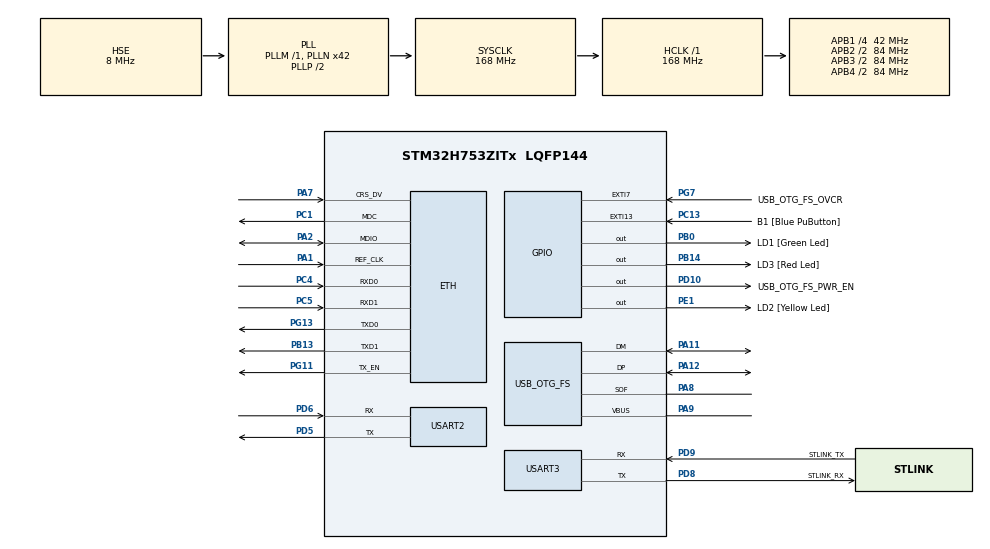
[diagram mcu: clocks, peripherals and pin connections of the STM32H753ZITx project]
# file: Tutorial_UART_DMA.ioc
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CORTEX_M7.CPU_DCache=Disabled
CORTEX_M7.CPU_ICache=Disabled
CORTEX_M7.MPU_Control=__NULL
Dma.Request0=USART2_TX
Dma.Request1=USART2_RX
Dma.Request2=USART3_RX
Dma.Request3=USART3_TX
Dma.USART2_RX.1.Direction=DMA_PERIPH_TO_MEMORY
Dma.USART2_RX.1.EventEnable=DISABLE
Dma.USART2_RX.1.FIFOMode=DMA_FIFOMODE_DISABLE
Dma.USART2_RX.1.Instance=DMA1_Stream1
Dma.USART2_RX.1.MemDataAlignment=DMA_MDATAALIGN_BYTE
Dma.USART2_RX.1.MemInc=DMA_MINC_ENABLE
Dma.USART2_RX.1.Mode=DMA_NORMAL
Dma.USART2_RX.1.PeriphDataAlignment=DMA_PDATAALIGN_BYTE
Dma.USART2_RX.1.PeriphInc=DMA_PINC_DISABLE
Dma.USART2_RX.1.Polarity=HAL_DMAMUX_REQ_GEN_RISING
Dma.USART2_RX.1.Priority=DMA_PRIORITY_LOW
Dma.USART2_RX.1.RequestNumber=1
Dma.USART2_RX.1.SignalID=NONE
Dma.USART2_RX.1.SyncEnable=DISABLE
Dma.USART2_RX.1.SyncPolarity=HAL_DMAMUX_SYNC_NO_EVENT
Dma.USART2_RX.1.SyncRequestNumber=1
Dma.USART2_RX.1.SyncSignalID=NONE
Dma.USART2_TX.0.Direction=DMA_MEMORY_TO_PERIPH
Dma.USART2_TX.0.EventEnable=DISABLE
Dma.USART2_TX.0.FIFOMode=DMA_FIFOMODE_DISABLE
Dma.USART2_TX.0.Instance=DMA1_Stream0
Dma.USART2_TX.0.MemDataAlignment=DMA_MDATAALIGN_BYTE
Dma.USART2_TX.0.MemInc=DMA_MINC_ENABLE
Dma.USART2_TX.0.Mode=DMA_NORMAL
Dma.USART2_TX.0.PeriphDataAlignment=DMA_PDATAALIGN_BYTE
Dma.USART2_TX.0.PeriphInc=DMA_PINC_DISABLE
Dma.USART2_TX.0.Polarity=HAL_DMAMUX_REQ_GEN_RISING
Dma.USART2_TX.0.Priority=DMA_PRIORITY_LOW
Dma.USART2_TX.0.RequestNumber=1
Dma.USART2_TX.0.SignalID=NONE
Dma.USART2_TX.0.SyncEnable=DISABLE
Dma.USART2_TX.0.SyncPolarity=HAL_DMAMUX_SYNC_NO_EVENT
Dma.USART2_TX.0.SyncRequestNumber=1
Dma.USART2_TX.0.SyncSignalID=NONE
Dma.USART3_RX.2.Direction=DMA_PERIPH_TO_MEMORY
Dma.USART3_RX.2.EventEnable=DISABLE
Dma.USART3_RX.2.FIFOMode=DMA_FIFOMODE_DISABLE
Dma.USART3_RX.2.Instance=DMA1_Stream2
Dma.USART3_RX.2.MemDataAlignment=DMA_MDATAALIGN_BYTE
Dma.USART3_RX.2.MemInc=DMA_MINC_ENABLE
Dma.USART3_RX.2.Mode=DMA_NORMAL
Dma.USART3_RX.2.PeriphDataAlignment=DMA_PDATAALIGN_BYTE
Dma.USART3_RX.2.PeriphInc=DMA_PINC_DISABLE
Dma.USART3_RX.2.Polarity=HAL_DMAMUX_REQ_GEN_RISING
Dma.USART3_RX.2.Priority=DMA_PRIORITY_LOW
Dma.USART3_RX.2.RequestNumber=1
Dma.USART3_RX.2.SignalID=NONE
Dma.USART3_RX.2.SyncEnable=DISABLE
Dma.USART3_RX.2.SyncPolarity=HAL_DMAMUX_SYNC_NO_EVENT
Dma.USART3_RX.2.SyncRequestNumber=1
Dma.USART3_RX.2.SyncSignalID=NONE
Dma.USART3_TX.3.Direction=DMA_MEMORY_TO_PERIPH
Dma.USART3_TX.3.EventEnable=DISABLE
Dma.USART3_TX.3.FIFOMode=DMA_FIFOMODE_DISABLE
Dma.USART3_TX.3.Instance=DMA1_Stream3
Dma.USART3_TX.3.MemDataAlignment=DMA_MDATAALIGN_BYTE
Dma.USART3_TX.3.MemInc=DMA_MINC_ENABLE
Dma.USART3_TX.3.Mode=DMA_NORMAL
Dma.USART3_TX.3.PeriphDataAlignment=DMA_PDATAALIGN_BYTE
Dma.USART3_TX.3.PeriphInc=DMA_PINC_DISABLE
Dma.USART3_TX.3.Polarity=HAL_DMAMUX_REQ_GEN_RISING
Dma.USART3_TX.3.Priority=DMA_PRIORITY_LOW
Dma.USART3_TX.3.RequestNumber=1
Dma.USART3_TX.3.SignalID=NONE
Dma.USART3_TX.3.SyncEnable=DISABLE
Dma.USART3_TX.3.SyncPolarity=HAL_DMAMUX_SYNC_NO_EVENT
Dma.USART3_TX.3.SyncRequestNumber=1
Dma.USART3_TX.3.SyncSignalID=NONE
ETH.ETH_RX_DESC_CNT=4
ETH.ETH_TX_DESC_CNT=4
ETH.MACAddr=00\:80\:E1\:00\:00\:00
ETH.MediaInterface=HAL_ETH_RMII_MODE
ETH.RxBuffAddress=0x30040200
ETH.RxBuffLen=1524
ETH.RxDescAddress=0x30040000
ETH.TxDescAddress=0x30040060
Mcu.Family=STM32H7
Mcu.Name=STM32H753ZITx
Mcu.Package=LQFP144
NVIC.DMA1_Stream0_IRQn=true\:0\:0\:false\:false\:true\:false\:true\:true
NVIC.DMA1_Stream1_IRQn=true\:0\:0\:false\:false\:true\:false\:true\:true
NVIC.DMA1_Stream2_IRQn=true\:0\:0\:false\:false\:true\:false\:true\:true
NVIC.DMA1_Stream3_IRQn=true\:0\:0\:false\:false\:true\:false\:true\:true
NVIC.EXTI15_10_IRQn=true\:0\:0\:false\:false\:true\:true\:true\:true
NVIC.PriorityGroup=NVIC_PRIORITYGROUP_4
NVIC.USART2_IRQn=true\:0\:0\:false\:false\:true\:true\:true\:true
NVIC.USART3_IRQn=true\:0\:0\:false\:false\:true\:true\:true\:true
PA1.Mode=RMII
PA1.Signal=ETH_REF_CLK
PA11.Mode=Device_Only
PA11.Signal=USB_OTG_FS_DM
PA12.Mode=Device_Only
PA12.Signal=USB_OTG_FS_DP
PA2.Mode=RMII
PA2.Signal=ETH_MDIO
PA7.Mode=RMII
PA7.Signal=ETH_CRS_DV
PA8.Mode=Activate_SOF_FS
PA8.Signal=USB_OTG_FS_SOF
PA9.Mode=Activate_VBUS
PA9.Signal=USB_OTG_FS_VBUS
PB0.GPIO_Label=LD1 [Green Led]
PB0.GPIO_Speed=GPIO_SPEED_FREQ_VERY_HIGH
PB0.Signal=GPIO_Output
PB13.Mode=RMII
PB13.Signal=ETH_TXD1
PB14.GPIO_Label=LD3 [Red Led]
PB14.Signal=GPIO_Output
PC1.Mode=RMII
PC1.Signal=ETH_MDC
PC13.GPIO_Label=B1 [Blue PuButton]
PC13.GPIO_ModeDefaultEXTI=GPIO_MODE_IT_FALLING
PC13.Signal=GPXTI13
PC14-OSC32_IN\ (OSC32_IN).Mode=LSE-External-Oscillator
PC14-OSC32_IN\ (OSC32_IN).Signal=RCC_OSC32_IN
PC15-OSC32_OUT\ (OSC32_OUT).Mode=LSE-External-Oscillator
PC15-OSC32_OUT\ (OSC32_OUT).Signal=RCC_OSC32_OUT
PC4.Mode=RMII
PC4.Signal=ETH_RXD0
PC5.Mode=RMII
PC5.Signal=ETH_RXD1
PD10.GPIO_Label=USB_OTG_FS_PWR_EN
PD10.Signal=GPIO_Output
PD5.GPIO_Speed=GPIO_SPEED_FREQ_HIGH
PD5.Mode=Asynchronous
PD5.Signal=USART2_TX
PD6.GPIO_Speed=GPIO_SPEED_FREQ_HIGH
PD6.Mode=Asynchronous
PD6.Signal=USART2_RX
PD8.GPIO_Label=STLINK_RX
PD8.GPIO_Speed=GPIO_SPEED_FREQ_HIGH
PD8.Mode=Asynchronous
PD8.Signal=USART3_TX
PD9.GPIO_Label=STLINK_TX
PD9.GPIO_Speed=GPIO_SPEED_FREQ_HIGH
PD9.Mode=Asynchronous
PD9.Signal=USART3_RX
PE1.GPIO_Label=LD2 [Yellow Led]
PE1.Signal=GPIO_Output
PG11.Mode=RMII
PG11.Signal=ETH_TX_EN
PG13.Mode=RMII
PG13.Signal=ETH_TXD0
PG7.GPIO_Label=USB_OTG_FS_OVCR
PG7.Signal=GPXTI7
PH0-OSC_IN\ (PH0).Mode=HSE-External-Clock-Source
PH0-OSC_IN\ (PH0).Signal=RCC_OSC_IN
PH1-OSC_OUT\ (PH1).Signal=RCC_OSC_OUT
ProjectManager.HeapSize=0x200
ProjectManager.StackSize=0x400
ProjectManager.TargetToolchain=STM32CubeIDE
RCC.ADCFreq_Value=16125000
RCC.APB1Freq_Value=42000000
RCC.APB2Freq_Value=84000000
RCC.APB3Freq_Value=84000000
RCC.APB4Freq_Value=84000000
RCC.CortexFreq_Value=168000000
RCC.D1PPRE=RCC_APB3_DIV2
RCC.D2PPRE1=RCC_APB1_DIV4
RCC.D2PPRE2=RCC_APB2_DIV2
RCC.D3PPRE=RCC_APB4_DIV2
RCC.DIVM1=1
RCC.DIVN1=42
RCC.DIVQ1=6
RCC.HCLKFreq_Value=168000000
RCC.HSE_VALUE=8000000
RCC.PLL2FRACN=0
RCC.PLL3FRACN=0
RCC.PLLFRACN=0
RCC.PWR_Regulator_Voltage_Scale=PWR_REGULATOR_VOLTAGE_SCALE2
RCC.SYSCLKFreq_VALUE=168000000
RCC.SYSCLKSource=RCC_SYSCLKSOURCE_PLLCLK
RCC.USBFreq_Value=56000000
USART2.VirtualMode-Asynchronous=VM_ASYNC
USART3.VirtualMode-Asynchronous=VM_ASYNC
USB_OTG_FS.Sof_enable=ENABLE
USB_OTG_FS.VirtualMode=Device_Only
USB_OTG_FS.battery_charging_enable=ENABLE
USB_OTG_FS.low_power_enable=DISABLE
USB_OTG_FS.lpm_enable=DISABLE
USB_OTG_FS.use_dedicated_ep1=DISABLE
USB_OTG_FS.vbus_sensing_enable=ENABLE
VP_MEMORYMAP_VS_MEMORYMAP.Mode=CurAppReg
board=NUCLEO-H753ZI

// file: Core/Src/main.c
/* USER CODE BEGIN Header */
/**
  ******************************************************************************
  * @file           : main.c
  * @brief          : Main program body
  ******************************************************************************
  * @attention
  *
  * Copyright (c) 2024 STMicroelectronics.
  * All rights reserved.
  *
  * This software is licensed under terms that can be found in the LICENSE file
  * in the root directory of this software component.
  * If no LICENSE file comes with this software, it is provided AS-IS.
  *
  ******************************************************************************
  */
/* USER CODE END Header */
#include "main.h"
#include "string.h"

#if defined ( __ICCARM__ ) /*!< IAR Compiler */
#pragma location=0x30040000
ETH_DMADescTypeDef  DMARxDscrTab[ETH_RX_DESC_CNT]; /* Ethernet Rx DMA Descriptors */
#pragma location=0x30040060
ETH_DMADescTypeDef  DMATxDscrTab[ETH_TX_DESC_CNT]; /* Ethernet Tx DMA Descriptors */

#elif defined ( __CC_ARM )  /* MDK ARM Compiler */

__attribute__((at(0x30040000))) ETH_DMADescTypeDef  DMARxDscrTab[ETH_RX_DESC_CNT]; /* Ethernet Rx DMA Descriptors */
__attribute__((at(0x30040060))) ETH_DMADescTypeDef  DMATxDscrTab[ETH_TX_DESC_CNT]; /* Ethernet Tx DMA Descriptors */

#elif defined ( __GNUC__ ) /* GNU Compiler */

ETH_DMADescTypeDef DMARxDscrTab[ETH_RX_DESC_CNT] __attribute__((section(".RxDecripSection"))); /* Ethernet Rx DMA Descriptors */
ETH_DMADescTypeDef DMATxDscrTab[ETH_TX_DESC_CNT] __attribute__((section(".TxDecripSection")));   /* Ethernet Tx DMA Descriptors */
#endif

ETH_TxPacketConfig TxConfig;

ETH_HandleTypeDef heth;

UART_HandleTypeDef huart2;
UART_HandleTypeDef huart3;
DMA_HandleTypeDef hdma_usart2_tx;
DMA_HandleTypeDef hdma_usart2_rx;
DMA_HandleTypeDef hdma_usart3_rx;
DMA_HandleTypeDef hdma_usart3_tx;

PCD_HandleTypeDef hpcd_USB_OTG_FS;

void SystemClock_Config(void);
static void MX_GPIO_Init(void);
static void MX_DMA_Init(void);
static void MX_ETH_Init(void);
static void MX_USB_OTG_FS_PCD_Init(void);
static void MX_USART2_UART_Init(void);
static void MX_USART3_UART_Init(void);

/* USER CODE BEGIN 0 */
uint8_t txData = 0x5A;
uint8_t counter = 0;
char tabelaEquipe[3][100] = {};
int ledCount = 0;
volatile int isSending = 0;
volatile uint8_t counter_received = 0;
volatile uint8_t tabela_received = 0;

void piscaLED(int count) {
    for (int i = 0; i < count; i++) {
        HAL_GPIO_TogglePin(GPIOB, GPIO_PIN_0);
        HAL_Delay(500);
        HAL_GPIO_TogglePin(GPIOB, GPIO_PIN_0);
        HAL_Delay(500);
    }
}

void enviarParaPC(int count) {
    char msg[30];
    sprintf(msg, "\nNumero de eventos = %d", count);
    HAL_UART_Transmit_IT(&huart3, (uint8_t *)msg, strlen(msg));
    HAL_Delay(1000);
    HAL_UART_Transmit_IT(&huart3, (uint8_t *)tabelaEquipe, sizeof(tabelaEquipe));
    HAL_Delay(1000);
    isSending = 0;
}

void restart_uart(UART_HandleTypeDef *huart) {
                __HAL_UART_DISABLE(huart);

                HAL_UART_DeInit(huart);
                HAL_UART_Init(huart);

                __HAL_UART_ENABLE(huart);
}

void init_receive_DMA(void) {
	if (counter_received) {
		restart_uart(&huart2);
		HAL_UART_Receive_DMA(&huart2, (uint8_t *)tabelaEquipe, sizeof(tabelaEquipe));
		uint8_t readyToReceive = 0x5A;
		HAL_UART_Transmit_IT(&huart2, &readyToReceive, sizeof(readyToReceive));
	}
}

/* USER CODE END 0 */

int main(void)
{

  /* MCU Configuration--------------------------------------------------------*/

  /* Reset of all peripherals, Initializes the Flash interface and the Systick. */
  HAL_Init();

  /* Configure the system clock */
  SystemClock_Config();

  /* Initialize all configured peripherals */
  MX_GPIO_Init();
  MX_DMA_Init();
  MX_ETH_Init();
  MX_USB_OTG_FS_PCD_Init();
  MX_USART2_UART_Init();
  MX_USART3_UART_Init();
  /* USER CODE BEGIN 2 */
  HAL_UART_Receive_IT(&huart2, &counter, sizeof(counter));
  /* USER CODE END 2 */

  /* Infinite loop */
  /* USER CODE BEGIN WHILE */
  while (1)
  {

    /* USER CODE BEGIN 3 */
	HAL_UART_Receive_IT(&huart2, &counter, sizeof(counter));

	if (ledCount > 0) {
	   isSending = 1;
	   init_receive_DMA();
	   piscaLED(ledCount);
	   enviarParaPC(ledCount);
	   ledCount = 0;
   }
   /* USER CODE END 3 */
  }
    /* USER CODE END WHILE */

    /* USER CODE BEGIN 3 */
	HAL_UART_Receive_IT(&huart2, &counter, sizeof(counter));

	if (ledCount > 0) {
	   isSending = 1;
	   init_receive_DMA();
	   piscaLED(ledCount);
	   enviarParaPC(ledCount);
	   ledCount = 0;
   }
  /* USER CODE END 3 */
}

void SystemClock_Config(void)
{
  RCC_OscInitTypeDef RCC_OscInitStruct = {0};
  RCC_ClkInitTypeDef RCC_ClkInitStruct = {0};

  /** Supply configuration update enable
  */
  HAL_PWREx_ConfigSupply(PWR_LDO_SUPPLY);

  /** Configure the main internal regulator output voltage
  */
  __HAL_PWR_VOLTAGESCALING_CONFIG(PWR_REGULATOR_VOLTAGE_SCALE2);

  while(!__HAL_PWR_GET_FLAG(PWR_FLAG_VOSRDY)) {}

  /** Initializes the RCC Oscillators according to the specified parameters
  * in the RCC_OscInitTypeDef structure.
  */
  RCC_OscInitStruct.OscillatorType = RCC_OSCILLATORTYPE_HSE;
  RCC_OscInitStruct.HSEState = RCC_HSE_BYPASS;
  RCC_OscInitStruct.PLL.PLLState = RCC_PLL_ON;
  RCC_OscInitStruct.PLL.PLLSource = RCC_PLLSOURCE_HSE;
  RCC_OscInitStruct.PLL.PLLM = 1;
  RCC_OscInitStruct.PLL.PLLN = 42;
  RCC_OscInitStruct.PLL.PLLP = 2;
  RCC_OscInitStruct.PLL.PLLQ = 6;
  RCC_OscInitStruct.PLL.PLLR = 2;
  RCC_OscInitStruct.PLL.PLLRGE = RCC_PLL1VCIRANGE_3;
  RCC_OscInitStruct.PLL.PLLVCOSEL = RCC_PLL1VCOWIDE;
  RCC_OscInitStruct.PLL.PLLFRACN = 0;
  if (HAL_RCC_OscConfig(&RCC_OscInitStruct) != HAL_OK)
  {
    Error_Handler();
  }

  /** Initializes the CPU, AHB and APB buses clocks
  */
  RCC_ClkInitStruct.ClockType = RCC_CLOCKTYPE_HCLK|RCC_CLOCKTYPE_SYSCLK
                              |RCC_CLOCKTYPE_PCLK1|RCC_CLOCKTYPE_PCLK2
                              |RCC_CLOCKTYPE_D3PCLK1|RCC_CLOCKTYPE_D1PCLK1;
  RCC_ClkInitStruct.SYSCLKSource = RCC_SYSCLKSOURCE_PLLCLK;
  RCC_ClkInitStruct.SYSCLKDivider = RCC_SYSCLK_DIV1;
  RCC_ClkInitStruct.AHBCLKDivider = RCC_HCLK_DIV1;
  RCC_ClkInitStruct.APB3CLKDivider = RCC_APB3_DIV2;
  RCC_ClkInitStruct.APB1CLKDivider = RCC_APB1_DIV4;
  RCC_ClkInitStruct.APB2CLKDivider = RCC_APB2_DIV2;
  RCC_ClkInitStruct.APB4CLKDivider = RCC_APB4_DIV2;

  if (HAL_RCC_ClockConfig(&RCC_ClkInitStruct, FLASH_LATENCY_3) != HAL_OK)
  {
    Error_Handler();
  }
}

static void MX_ETH_Init(void)
{

   static uint8_t MACAddr[6];

  heth.Instance = ETH;
  MACAddr[0] = 0x00;
  MACAddr[1] = 0x80;
  MACAddr[2] = 0xE1;
  MACAddr[3] = 0x00;
  MACAddr[4] = 0x00;
  MACAddr[5] = 0x00;
  heth.Init.MACAddr = &MACAddr[0];
  heth.Init.MediaInterface = HAL_ETH_RMII_MODE;
  heth.Init.TxDesc = DMATxDscrTab;
  heth.Init.RxDesc = DMARxDscrTab;
  heth.Init.RxBuffLen = 1524;

  if (HAL_ETH_Init(&heth) != HAL_OK)
  {
    Error_Handler();
  }

  memset(&TxConfig, 0 , sizeof(ETH_TxPacketConfig));
  TxConfig.Attributes = ETH_TX_PACKETS_FEATURES_CSUM | ETH_TX_PACKETS_FEATURES_CRCPAD;
  TxConfig.ChecksumCtrl = ETH_CHECKSUM_IPHDR_PAYLOAD_INSERT_PHDR_CALC;
  TxConfig.CRCPadCtrl = ETH_CRC_PAD_INSERT;

}

static void MX_USART2_UART_Init(void)
{

  huart2.Instance = USART2;
  huart2.Init.BaudRate = 115200;
  huart2.Init.WordLength = UART_WORDLENGTH_8B;
  huart2.Init.StopBits = UART_STOPBITS_1;
  huart2.Init.Parity = UART_PARITY_NONE;
  huart2.Init.Mode = UART_MODE_TX_RX;
  huart2.Init.HwFlowCtl = UART_HWCONTROL_NONE;
  huart2.Init.OverSampling = UART_OVERSAMPLING_16;
  huart2.Init.OneBitSampling = UART_ONE_BIT_SAMPLE_DISABLE;
  huart2.Init.ClockPrescaler = UART_PRESCALER_DIV1;
  huart2.AdvancedInit.AdvFeatureInit = UART_ADVFEATURE_NO_INIT;
  if (HAL_UART_Init(&huart2) != HAL_OK)
  {
    Error_Handler();
  }
  if (HAL_UARTEx_SetTxFifoThreshold(&huart2, UART_TXFIFO_THRESHOLD_1_8) != HAL_OK)
  {
    Error_Handler();
  }
  if (HAL_UARTEx_SetRxFifoThreshold(&huart2, UART_RXFIFO_THRESHOLD_1_8) != HAL_OK)
  {
    Error_Handler();
  }
  if (HAL_UARTEx_DisableFifoMode(&huart2) != HAL_OK)
  {
    Error_Handler();
  }

}

static void MX_USART3_UART_Init(void)
{

  huart3.Instance = USART3;
  huart3.Init.BaudRate = 115200;
  huart3.Init.WordLength = UART_WORDLENGTH_8B;
  huart3.Init.StopBits = UART_STOPBITS_1;
  huart3.Init.Parity = UART_PARITY_NONE;
  huart3.Init.Mode = UART_MODE_TX_RX;
  huart3.Init.HwFlowCtl = UART_HWCONTROL_NONE;
  huart3.Init.OverSampling = UART_OVERSAMPLING_16;
  huart3.Init.OneBitSampling = UART_ONE_BIT_SAMPLE_DISABLE;
  huart3.Init.ClockPrescaler = UART_PRESCALER_DIV1;
  huart3.AdvancedInit.AdvFeatureInit = UART_ADVFEATURE_NO_INIT;
  if (HAL_UART_Init(&huart3) != HAL_OK)
  {
    Error_Handler();
  }
  if (HAL_UARTEx_SetTxFifoThreshold(&huart3, UART_TXFIFO_THRESHOLD_1_8) != HAL_OK)
  {
    Error_Handler();
  }
  if (HAL_UARTEx_SetRxFifoThreshold(&huart3, UART_RXFIFO_THRESHOLD_1_8) != HAL_OK)
  {
    Error_Handler();
  }
  if (HAL_UARTEx_DisableFifoMode(&huart3) != HAL_OK)
  {
    Error_Handler();
  }

}

static void MX_USB_OTG_FS_PCD_Init(void)
{

  hpcd_USB_OTG_FS.Instance = USB_OTG_FS;
  hpcd_USB_OTG_FS.Init.dev_endpoints = 9;
  hpcd_USB_OTG_FS.Init.speed = PCD_SPEED_FULL;
  hpcd_USB_OTG_FS.Init.dma_enable = DISABLE;
  hpcd_USB_OTG_FS.Init.phy_itface = PCD_PHY_EMBEDDED;
  hpcd_USB_OTG_FS.Init.Sof_enable = ENABLE;
  hpcd_USB_OTG_FS.Init.low_power_enable = DISABLE;
  hpcd_USB_OTG_FS.Init.lpm_enable = DISABLE;
  hpcd_USB_OTG_FS.Init.battery_charging_enable = ENABLE;
  hpcd_USB_OTG_FS.Init.vbus_sensing_enable = ENABLE;
  hpcd_USB_OTG_FS.Init.use_dedicated_ep1 = DISABLE;
  if (HAL_PCD_Init(&hpcd_USB_OTG_FS) != HAL_OK)
  {
    Error_Handler();
  }

}

static void MX_DMA_Init(void)
{

  /* DMA controller clock enable */
  __HAL_RCC_DMA1_CLK_ENABLE();

  /* DMA interrupt init */
  /* DMA1_Stream0_IRQn interrupt configuration */
  HAL_NVIC_SetPriority(DMA1_Stream0_IRQn, 0, 0);
  HAL_NVIC_EnableIRQ(DMA1_Stream0_IRQn);
  /* DMA1_Stream1_IRQn interrupt configuration */
  HAL_NVIC_SetPriority(DMA1_Stream1_IRQn, 0, 0);
  HAL_NVIC_EnableIRQ(DMA1_Stream1_IRQn);
  /* DMA1_Stream2_IRQn interrupt configuration */
  HAL_NVIC_SetPriority(DMA1_Stream2_IRQn, 0, 0);
  HAL_NVIC_EnableIRQ(DMA1_Stream2_IRQn);
  /* DMA1_Stream3_IRQn interrupt configuration */
  HAL_NVIC_SetPriority(DMA1_Stream3_IRQn, 0, 0);
  HAL_NVIC_EnableIRQ(DMA1_Stream3_IRQn);

}

static void MX_GPIO_Init(void)
{
  GPIO_InitTypeDef GPIO_InitStruct = {0};

  /* GPIO Ports Clock Enable */
  __HAL_RCC_GPIOC_CLK_ENABLE();
  __HAL_RCC_GPIOH_CLK_ENABLE();
  __HAL_RCC_GPIOA_CLK_ENABLE();
  __HAL_RCC_GPIOB_CLK_ENABLE();
  __HAL_RCC_GPIOD_CLK_ENABLE();
  __HAL_RCC_GPIOG_CLK_ENABLE();
  __HAL_RCC_GPIOE_CLK_ENABLE();

  /*Configure GPIO pin Output Level */
  HAL_GPIO_WritePin(GPIOB, LD1_Pin|LD3_Pin, GPIO_PIN_RESET);

  /*Configure GPIO pin Output Level */
  HAL_GPIO_WritePin(USB_OTG_FS_PWR_EN_GPIO_Port, USB_OTG_FS_PWR_EN_Pin, GPIO_PIN_RESET);

  /*Configure GPIO pin Output Level */
  HAL_GPIO_WritePin(LD2_GPIO_Port, LD2_Pin, GPIO_PIN_RESET);

  /*Configure GPIO pin : B1_Pin */
  GPIO_InitStruct.Pin = B1_Pin;
  GPIO_InitStruct.Mode = GPIO_MODE_IT_FALLING;
  GPIO_InitStruct.Pull = GPIO_NOPULL;
  HAL_GPIO_Init(B1_GPIO_Port, &GPIO_InitStruct);

  /*Configure GPIO pin : LD1_Pin */
  GPIO_InitStruct.Pin = LD1_Pin;
  GPIO_InitStruct.Mode = GPIO_MODE_OUTPUT_PP;
  GPIO_InitStruct.Pull = GPIO_NOPULL;
  GPIO_InitStruct.Speed = GPIO_SPEED_FREQ_VERY_HIGH;
  HAL_GPIO_Init(LD1_GPIO_Port, &GPIO_InitStruct);

  /*Configure GPIO pin : LD3_Pin */
  GPIO_InitStruct.Pin = LD3_Pin;
  GPIO_InitStruct.Mode = GPIO_MODE_OUTPUT_PP;
  GPIO_InitStruct.Pull = GPIO_NOPULL;
  GPIO_InitStruct.Speed = GPIO_SPEED_FREQ_LOW;
  HAL_GPIO_Init(LD3_GPIO_Port, &GPIO_InitStruct);

  /*Configure GPIO pin : USB_OTG_FS_PWR_EN_Pin */
  GPIO_InitStruct.Pin = USB_OTG_FS_PWR_EN_Pin;
  GPIO_InitStruct.Mode = GPIO_MODE_OUTPUT_PP;
  GPIO_InitStruct.Pull = GPIO_NOPULL;
  GPIO_InitStruct.Speed = GPIO_SPEED_FREQ_LOW;
  HAL_GPIO_Init(USB_OTG_FS_PWR_EN_GPIO_Port, &GPIO_InitStruct);

  /*Configure GPIO pin : USB_OTG_FS_OVCR_Pin */
  GPIO_InitStruct.Pin = USB_OTG_FS_OVCR_Pin;
  GPIO_InitStruct.Mode = GPIO_MODE_IT_RISING;
  GPIO_InitStruct.Pull = GPIO_NOPULL;
  HAL_GPIO_Init(USB_OTG_FS_OVCR_GPIO_Port, &GPIO_InitStruct);

  /*Configure GPIO pin : LD2_Pin */
  GPIO_InitStruct.Pin = LD2_Pin;
  GPIO_InitStruct.Mode = GPIO_MODE_OUTPUT_PP;
  GPIO_InitStruct.Pull = GPIO_NOPULL;
  GPIO_InitStruct.Speed = GPIO_SPEED_FREQ_LOW;
  HAL_GPIO_Init(LD2_GPIO_Port, &GPIO_InitStruct);

  /* EXTI interrupt init*/
  HAL_NVIC_SetPriority(EXTI15_10_IRQn, 0, 0);
  HAL_NVIC_EnableIRQ(EXTI15_10_IRQn);

}

/* USER CODE BEGIN 4 */
void HAL_GPIO_EXTI_Callback(uint16_t GPIO_Pin) {
    if (GPIO_Pin == GPIO_PIN_13 && !isSending) {
    	HAL_UART_Transmit_IT(&huart2, &txData, sizeof(txData));
    }
}

void HAL_UART_RxCpltCallback(UART_HandleTypeDef *huart) {
    if (huart == &huart2) {
        if (!counter_received) {
        	if (counter > 0){
            ledCount = counter;
            counter_received = 1;
        	}

        } else if (!tabela_received) {

            tabela_received = 1;

            counter_received = 0;
            tabela_received = 0;
            HAL_UART_Receive_IT(&huart2, &counter, sizeof(counter));
        }
    }
}

/* USER CODE END 4 */

void Error_Handler(void)
{
  __disable_irq();
  while (1)
  {
  }
}
